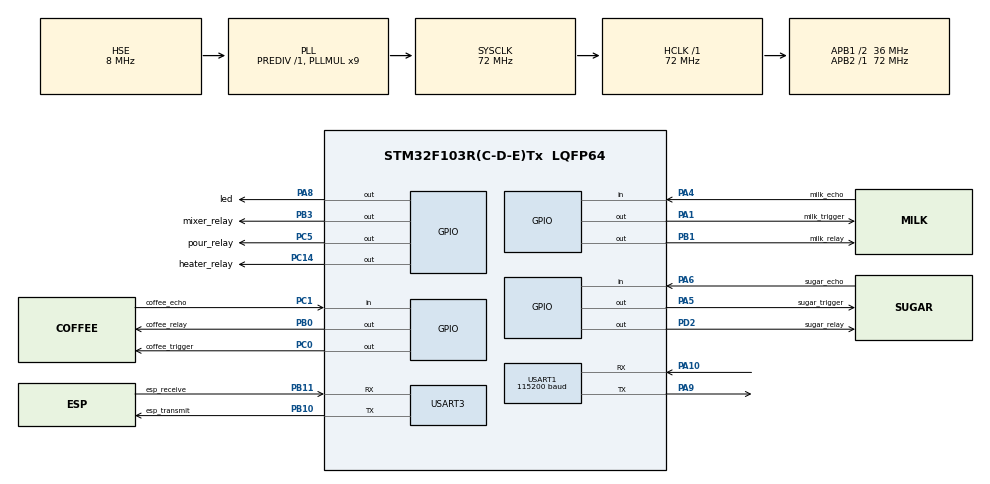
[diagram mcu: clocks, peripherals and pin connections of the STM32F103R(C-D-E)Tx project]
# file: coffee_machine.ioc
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Dma.Request0=USART1_TX
Dma.Request1=USART1_RX
Dma.Request2=USART3_RX
Dma.Request3=USART3_TX
Dma.USART1_RX.1.Direction=DMA_PERIPH_TO_MEMORY
Dma.USART1_RX.1.Instance=DMA1_Channel5
Dma.USART1_RX.1.MemDataAlignment=DMA_MDATAALIGN_BYTE
Dma.USART1_RX.1.MemInc=DMA_MINC_ENABLE
Dma.USART1_RX.1.Mode=DMA_CIRCULAR
Dma.USART1_RX.1.PeriphDataAlignment=DMA_PDATAALIGN_BYTE
Dma.USART1_RX.1.PeriphInc=DMA_PINC_DISABLE
Dma.USART1_RX.1.Priority=DMA_PRIORITY_LOW
Dma.USART1_TX.0.Direction=DMA_MEMORY_TO_PERIPH
Dma.USART1_TX.0.Instance=DMA1_Channel4
Dma.USART1_TX.0.MemDataAlignment=DMA_MDATAALIGN_BYTE
Dma.USART1_TX.0.MemInc=DMA_MINC_ENABLE
Dma.USART1_TX.0.Mode=DMA_NORMAL
Dma.USART1_TX.0.PeriphDataAlignment=DMA_PDATAALIGN_BYTE
Dma.USART1_TX.0.PeriphInc=DMA_PINC_DISABLE
Dma.USART1_TX.0.Priority=DMA_PRIORITY_HIGH
Dma.USART3_RX.2.Direction=DMA_PERIPH_TO_MEMORY
Dma.USART3_RX.2.Instance=DMA1_Channel3
Dma.USART3_RX.2.MemDataAlignment=DMA_MDATAALIGN_BYTE
Dma.USART3_RX.2.MemInc=DMA_MINC_ENABLE
Dma.USART3_RX.2.Mode=DMA_CIRCULAR
Dma.USART3_RX.2.PeriphDataAlignment=DMA_PDATAALIGN_BYTE
Dma.USART3_RX.2.PeriphInc=DMA_PINC_DISABLE
Dma.USART3_RX.2.Priority=DMA_PRIORITY_LOW
Dma.USART3_TX.3.Direction=DMA_MEMORY_TO_PERIPH
Dma.USART3_TX.3.Instance=DMA1_Channel2
Dma.USART3_TX.3.MemDataAlignment=DMA_MDATAALIGN_BYTE
Dma.USART3_TX.3.MemInc=DMA_MINC_ENABLE
Dma.USART3_TX.3.Mode=DMA_NORMAL
Dma.USART3_TX.3.PeriphDataAlignment=DMA_PDATAALIGN_BYTE
Dma.USART3_TX.3.PeriphInc=DMA_PINC_DISABLE
Dma.USART3_TX.3.Priority=DMA_PRIORITY_HIGH
FREERTOS.HEAP_NUMBER=4
FREERTOS.Tasks01=defaultTask,24,128,StartDefaultTask,Default,NULL,Dynamic,NULL,NULL
FREERTOS.configTOTAL_HEAP_SIZE=128 * 64
Mcu.Family=STM32F1
Mcu.Name=STM32F103R(C-D-E)Tx
Mcu.Package=LQFP64
NVIC.DMA1_Channel2_IRQn=true\:5\:0\:false\:false\:true\:true\:false\:true\:true
NVIC.DMA1_Channel3_IRQn=true\:5\:0\:false\:false\:true\:true\:false\:true\:true
NVIC.DMA1_Channel4_IRQn=true\:5\:0\:false\:false\:true\:true\:false\:true\:true
NVIC.DMA1_Channel5_IRQn=true\:5\:0\:false\:false\:true\:true\:false\:true\:true
NVIC.PriorityGroup=NVIC_PRIORITYGROUP_4
NVIC.TIM1_UP_IRQn=true\:15\:0\:false\:false\:true\:false\:false\:true\:true
NVIC.TIM4_IRQn=true\:5\:0\:false\:false\:true\:true\:true\:true\:true
NVIC.TimeBase=TIM1_UP_IRQn
NVIC.TimeBaseIP=TIM1
NVIC.USART1_IRQn=true\:5\:0\:false\:false\:true\:true\:true\:true\:true
NVIC.USART3_IRQn=true\:5\:0\:false\:false\:true\:true\:true\:true\:true
PA1.GPIO_Label=milk_trigger
PA1.Signal=GPIO_Output
PA10.Mode=Asynchronous
PA10.Signal=USART1_RX
PA13.Mode=Serial_Wire
PA13.Signal=SYS_JTMS-SWDIO
PA14.Mode=Serial_Wire
PA14.Signal=SYS_JTCK-SWCLK
PA4.GPIO_Label=milk_echo
PA4.Signal=GPIO_Input
PA5.GPIO_Label=sugar_trigger
PA5.Signal=GPIO_Output
PA6.GPIO_Label=sugar_echo
PA6.Signal=GPIO_Input
PA8.GPIO_Label=led
PA8.Signal=GPIO_Output
PA9.Mode=Asynchronous
PA9.Signal=USART1_TX
PB0.GPIO_Label=coffee_relay
PB0.Signal=GPIO_Output
PB1.GPIO_Label=milk_relay
PB1.Signal=GPIO_Output
PB10.GPIO_Label=esp_transmit
PB10.Mode=Asynchronous
PB10.Signal=USART3_TX
PB11.GPIO_Label=esp_receive
PB11.Mode=Asynchronous
PB11.Signal=USART3_RX
PB3.GPIO_Label=mixer_relay
PB3.Signal=GPIO_Output
PC0.GPIO_Label=coffee_trigger
PC0.Signal=GPIO_Output
PC1.GPIO_Label=coffee_echo
PC1.Signal=GPIO_Input
PC14-OSC32_IN.GPIO_Label=heater_relay
PC14-OSC32_IN.Signal=GPIO_Output
PC5.GPIO_Label=pour_relay
PC5.Signal=GPIO_Output
PD0-OSC_IN.Mode=HSE-External-Oscillator
PD0-OSC_IN.Signal=RCC_OSC_IN
PD1-OSC_OUT.Mode=HSE-External-Oscillator
PD1-OSC_OUT.Signal=RCC_OSC_OUT
PD2.GPIO_Label=sugar_relay
PD2.Signal=GPIO_Output
ProjectManager.HeapSize=0xA00
ProjectManager.StackSize=0xA00
ProjectManager.TargetToolchain=MDK-ARM V5.32
RCC.AHBFreq_Value=72000000
RCC.APB1CLKDivider=RCC_HCLK_DIV2
RCC.APB1Freq_Value=36000000
RCC.APB1TimFreq_Value=72000000
RCC.APB2Freq_Value=72000000
RCC.APB2TimFreq_Value=72000000
RCC.HCLKFreq_Value=72000000
RCC.PLLMUL=RCC_PLL_MUL9
RCC.PLLSourceVirtual=RCC_PLLSOURCE_HSE
RCC.SYSCLKFreq_VALUE=72000000
RCC.SYSCLKSource=RCC_SYSCLKSOURCE_PLLCLK
RCC.USBFreq_Value=72000000
TIM3.Prescaler=71
TIM4.AutoReloadPreload=TIM_AUTORELOAD_PRELOAD_ENABLE
TIM4.Period=999
TIM4.Prescaler=71
TIM6.AutoReloadPreload=TIM_AUTORELOAD_PRELOAD_ENABLE
TIM6.Prescaler=71
USART1.BaudRate=115200
USART1.VirtualMode=VM_ASYNC
USART3.VirtualMode=VM_ASYNC
VP_FREERTOS_VS_CMSIS_V2.Mode=CMSIS_V2
VP_SYS_VS_tim1.Mode=TIM1
VP_TIM3_VS_ClockSourceINT.Mode=Internal
VP_TIM4_VS_ClockSourceINT.Mode=Internal
VP_TIM6_VS_ClockSourceINT.Mode=Enable_Timer
board=custom

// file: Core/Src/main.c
/* USER CODE BEGIN Header */
/**
  ******************************************************************************
  * @file           : main.c
  * @brief          : Main program body
  ******************************************************************************
  * @attention
  *
  * Copyright (c) 2022 STMicroelectronics.
  * All rights reserved.
  *
  * This software is licensed under terms that can be found in the LICENSE file
  * in the root directory of this software component.
  * If no LICENSE file comes with this software, it is provided AS-IS.
  *
  ******************************************************************************
  */
/* USER CODE END Header */
#include "main.h"
#include "cmsis_os.h"
#include "dma.h"
#include "tim.h"
#include "usart.h"
#include "gpio.h"

/* USER CODE BEGIN Includes */
#include "includes.h"
/* USER CODE END Includes */

/* USER CODE BEGIN PV */

//when 'DEBUG = 1' debug mode is on
//in debug mode, transmission(printf) is via uart1, else via uart3
int DEBUG = 0;
uint8_t send_buf[200];

//buffers used for receive data
extern uint8_t rx_buffer[200];
extern uint8_t rx_buffer_3[200];

//temperature sensor onewire decleration
onewire tempSensor = {GPIOC,GPIO_PIN_12};
/* USER CODE END PV */

void SystemClock_Config(void);
void MX_FREERTOS_Init(void);

int main(void)
{

  /* MCU Configuration--------------------------------------------------------*/

  /* Reset of all peripherals, Initializes the Flash interface and the Systick. */
  HAL_Init();

  /* Configure the system clock */
  SystemClock_Config();

  /* Initialize all configured peripherals */
  MX_GPIO_Init();
  MX_DMA_Init();
  MX_TIM4_Init();
  MX_USART3_UART_Init();
  MX_USART1_UART_Init();
  MX_TIM6_Init();
  MX_TIM3_Init();
  /* USER CODE BEGIN 2 */

	//enable uart_it_idle for receiving various length of data
	__HAL_UART_ENABLE_IT(&huart1, UART_IT_IDLE);
	HAL_UART_Receive_DMA(&huart1,rx_buffer,200);

	__HAL_UART_ENABLE_IT(&huart3, UART_IT_IDLE);
	HAL_UART_Receive_DMA(&huart3,rx_buffer_3,200);

	//shut all the relays
	shut_all_relay();
	//init system config and buffers
	InitSystem();

  /* USER CODE END 2 */

  /* Init scheduler */
  osKernelInitialize();  /* Call init function for freertos objects (in freertos.c) */
  MX_FREERTOS_Init();

  /* Start scheduler */
  osKernelStart();

  /* We should never get here as control is now taken by the scheduler */
  /* Infinite loop */
  /* USER CODE BEGIN WHILE */

	// DON'T DO ANYTHING HERE!
  while (1)
  {
    /* USER CODE END WHILE */

  }
}

void SystemClock_Config(void)
{
  RCC_OscInitTypeDef RCC_OscInitStruct = {0};
  RCC_ClkInitTypeDef RCC_ClkInitStruct = {0};

  /** Initializes the RCC Oscillators according to the specified parameters
  * in the RCC_OscInitTypeDef structure.
  */
  RCC_OscInitStruct.OscillatorType = RCC_OSCILLATORTYPE_HSE;
  RCC_OscInitStruct.HSEState = RCC_HSE_ON;
  RCC_OscInitStruct.HSEPredivValue = RCC_HSE_PREDIV_DIV1;
  RCC_OscInitStruct.HSIState = RCC_HSI_ON;
  RCC_OscInitStruct.PLL.PLLState = RCC_PLL_ON;
  RCC_OscInitStruct.PLL.PLLSource = RCC_PLLSOURCE_HSE;
  RCC_OscInitStruct.PLL.PLLMUL = RCC_PLL_MUL9;
  if (HAL_RCC_OscConfig(&RCC_OscInitStruct) != HAL_OK)
  {
    Error_Handler();
  }

  /** Initializes the CPU, AHB and APB buses clocks
  */
  RCC_ClkInitStruct.ClockType = RCC_CLOCKTYPE_HCLK|RCC_CLOCKTYPE_SYSCLK
                              |RCC_CLOCKTYPE_PCLK1|RCC_CLOCKTYPE_PCLK2;
  RCC_ClkInitStruct.SYSCLKSource = RCC_SYSCLKSOURCE_PLLCLK;
  RCC_ClkInitStruct.AHBCLKDivider = RCC_SYSCLK_DIV1;
  RCC_ClkInitStruct.APB1CLKDivider = RCC_HCLK_DIV2;
  RCC_ClkInitStruct.APB2CLKDivider = RCC_HCLK_DIV1;

  if (HAL_RCC_ClockConfig(&RCC_ClkInitStruct, FLASH_LATENCY_2) != HAL_OK)
  {
    Error_Handler();
  }
}

/* USER CODE BEGIN 4 */

//delay Usecond
void HAL_Delay_us(uint32_t us)
{
  __HAL_TIM_SetCounter(&htim4,0);
  HAL_TIM_Base_Start(&htim4);
  while(__HAL_TIM_GetCounter(&htim4)<us);
  HAL_TIM_Base_Stop(&htim4);
}

/* USER CODE END 4 */

void HAL_TIM_PeriodElapsedCallback(TIM_HandleTypeDef *htim)
{
  if (htim->Instance == TIM1) {
    HAL_IncTick();
  }
}

void Error_Handler(void)
{
  __disable_irq();
  while (1)
  {
  }
}

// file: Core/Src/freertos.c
/* USER CODE BEGIN Header */
/**
  ******************************************************************************
  * File Name          : freertos.c
  * Description        : Code for freertos applications
  ******************************************************************************
  * @attention
  *
  * Copyright (c) 2022 STMicroelectronics.
  * All rights reserved.
  *
  * This software is licensed under terms that can be found in the LICENSE file
  * in the root directory of this software component.
  * If no LICENSE file comes with this software, it is provided AS-IS.
  *
  ******************************************************************************
  */

/* USER CODE END Header */

#include "FreeRTOS.h"
#include "task.h"
#include "main.h"
#include "cmsis_os.h"

/* USER CODE BEGIN Includes */
#include "includes.h"
/* USER CODE END Includes */

/* USER CODE BEGIN PTD */

/*
* 在这里写些提醒！
  1. osDelay(pdMS_TO_TICKS(ms));可以延时毫秒?
	2. 注意osDelay是阻塞的，HAL_DELAY()是非阻塞的
		 在使用osDelay时，其他的task任然可以执行
	3. making进程和error进程都采用查询系统状态getsysemstatus()获取状态
		 在connect.c中的start和emergent_stop调用setsystemstatus()修改状态
		 由management进程（优先级仅次于中断）检测系统状态变化，然后挂起making或error进程
	4. 所有线程在for的无限循环中必须由osDelay，否则将持续占用cpu
	5. 在线程里尽量采用非阻塞式的发送方式，即使用HAL_UART_Transmit而非HAL_UART_Transmit_DMA

*/

/* USER CODE END PTD */

/* USER CODE BEGIN Variables */

extern onewire tempSensor;
extern UART_HandleTypeDef huart1;
extern UART_HandleTypeDef huart3;
extern uint8_t send_buf[200];
extern int DEBUG;
extern SystemCfg environmentCfg;

//制作进程句柄
osThreadId_t makingTaskHandle;

const osThreadAttr_t makingTask_attributes = {
	.name = "makingTask",
	.stack_size = 128 * 10,
	.priority = (osPriority_t) osPriorityNormal,//third rank
};

//出错进程句柄
osThreadId_t errorTaskHandle;

const osThreadAttr_t errorTask_attributes = {
	.name = "errorTask",
	.stack_size = 128 * 6,
	.priority = (osPriority_t) osPriorityAboveNormal,//second rank

};

//管理进程句柄
osThreadId_t managementHandle;

const osThreadAttr_t managementTask_attributes = {
	.name = "managementTark",
	.stack_size = 128 * 8,
	.priority = (osPriority_t) osPriorityHigh,//highest priority
};

osThreadId_t sendHandle;

const osThreadAttr_t sendTask_attributes = {
	.name = "sendTark",
	.stack_size = 128 * 8,
	.priority = (osPriority_t) osPriorityNormal,//highest priority
};

/* USER CODE END Variables */
/* Definitions for defaultTask */
osThreadId_t defaultTaskHandle;
const osThreadAttr_t defaultTask_attributes = {
  .name = "defaultTask",
  .stack_size = 128 * 4,
  .priority = (osPriority_t) osPriorityNormal,
};

/* USER CODE BEGIN FunctionPrototypes */
void startMakingTask(void *argument);
void startErrorTask(void *argument);
void managementTask(void *argument);
void sendTask(void* argument);

/* USER CODE END FunctionPrototypes */

void StartDefaultTask(void *argument);

void MX_FREERTOS_Init(void); /* (MISRA C 2004 rule 8.1) */

void MX_FREERTOS_Init(void) {

  /* Create the thread(s) */
  /* creation of defaultTask */
  defaultTaskHandle = osThreadNew(StartDefaultTask, NULL, &defaultTask_attributes);

  /* USER CODE BEGIN RTOS_THREADS */
  /* add threads, ... */
	makingTaskHandle = osThreadNew(startMakingTask, "making", &makingTask_attributes);
	errorTaskHandle = osThreadNew(startErrorTask, "error", &errorTask_attributes);
	managementHandle = osThreadNew(managementTask, "manage", &managementTask_attributes);
	sendHandle = osThreadNew(sendTask, "sender", &sendTask_attributes);

  /* USER CODE END RTOS_THREADS */

}

void StartDefaultTask(void *argument)
{
  /* USER CODE BEGIN StartDefaultTask */
  /* Infinite loop */
  for(;;)
  {
	  environmentCfg.coffee = dist_to_vol(get_coffee_dist());
	  environmentCfg.milk = dist_to_vol(get_milk_dist());
	  environmentCfg.sugar = dist_to_vol(get_sugar_dist());
	  environmentCfg.temp = read_temp();
	  osDelay(20);
  }
  /* USER CODE END StartDefaultTask */
}

/* USER CODE BEGIN Application */
/**
* @brief  coffee making process
* @param  argument: Not used
* @retval None

* TODO:
	procedures:
	1. add coffee
		1.1. volumn
	2. add milk
	3. add sugar
	4. heat
	5. mix
	6. pour out

*/

void startMakingTask(void *argument){

	for(;;){
		if( GetSystemStatus() == Making){

	/*COFFEE MAKING PROCESS ADDING AT BELOW*/

			switch_led();
			add_coffee(GetCurrentCfg(coffee));

			switch_led();
			add_milk(GetCurrentCfg(milk));

			switch_led();
			add_sugar(GetCurrentCfg(sugar));

			switch_led();
			//heater and mixer are synchronized
			mix_on();
			heat_temp();
			mix_off();

			switch_led();
			pour_out();

			shut_all_relay();

	/*COFFEE MAKING PROCESS ADDING AT ABOVE*/
			SetStatusWaiting();
			osDelay(pdMS_TO_TICKS(500));

		}
		else{
			osDelay(200);
		}
	}

}

/**
* @brief  emergent stop
* @param  argument: Not used
* @retval None
  */
void startErrorTask(void *argument){
	for(;;){

		if(GetSystemStatus() == Error){

		/*EMERGENT STOP PROCESS ADDING BELOW*/
			shut_all_relay();
		/*EMERGENT STOP PROCESS ADDING ABOVE*/

			osDelay(pdMS_TO_TICKS(1000));
		}else{
			osDelay(200);
		}

	}
}

//FUNCTION:
//make sure that making and error task won't execute at the same time
void managementTask(void *argument){
	for(;;){
		//suspend Error, Resume making
		if(osThreadGetState(errorTaskHandle) != osThreadBlocked && GetSystemStatus() == Making ){
			osThreadSuspend(errorTaskHandle);
			osThreadResume(makingTaskHandle);
		}
		if(osThreadGetState(makingTaskHandle) != osThreadBlocked && GetSystemStatus() == Error ){
			osThreadSuspend(makingTaskHandle);
			osThreadResume(errorTaskHandle);
		}

		// with delay for only 1 tick, this management thread will execute very frequently
		// to switch the two threads immediately
		osDelay(1);

	}
}

void sendTask(void* argument){
	for(;;){
		//detect msg exist
		if(strlen((char*)send_buf) > 0){

			if(DEBUG){
				HAL_UART_Transmit(&huart1, send_buf, strlen((char*)send_buf), portMAX_DELAY);
			}
			else{
				HAL_UART_Transmit(&huart3, send_buf, strlen((char*)send_buf), portMAX_DELAY);
				//make a copy to usb
				HAL_UART_Transmit(&huart1, send_buf, strlen((char*)send_buf), portMAX_DELAY);
			}

			//clear send-buf
			memset(send_buf, 0, 200);

		}
		osDelay(20);
	}
}

/* USER CODE END Application */
